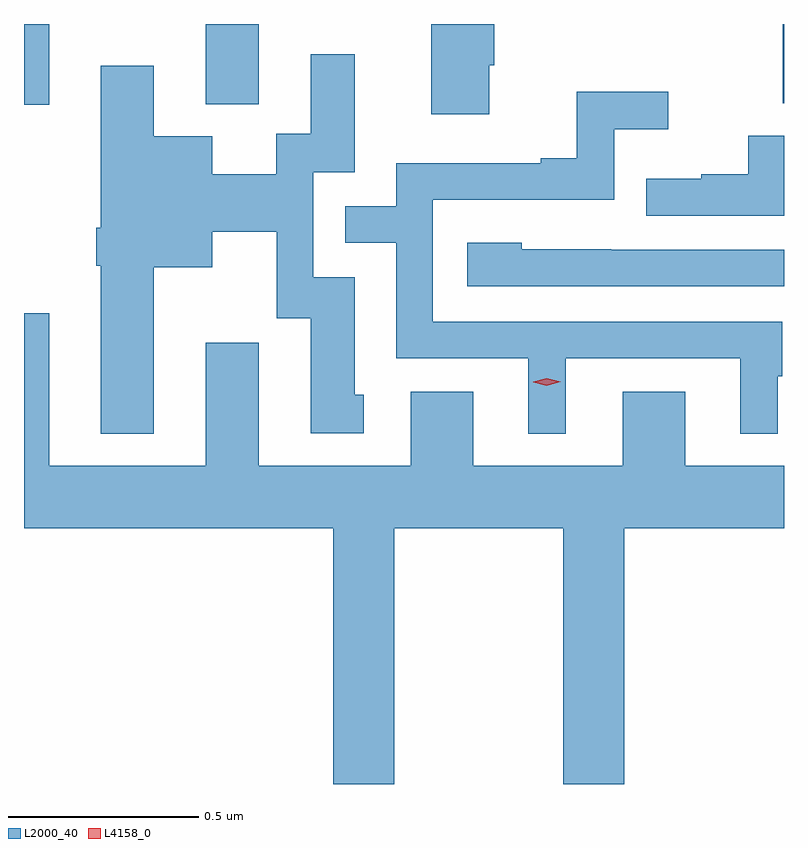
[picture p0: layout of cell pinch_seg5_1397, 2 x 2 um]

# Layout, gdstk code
import gdstk
lib = gdstk.Library(unit=1e-6, precision=1e-09)
def R(c, l, rs):  # rectangles x0, y0, x1, y1
    for r in rs: c.add(gdstk.rectangle(r[:2], r[2:], *l))
def P(c, l, *ps):  # polygons
    for p in ps: c.add(gdstk.Polygon(p, *l))
L2000_40 = (2000, 40)
L4158_0 = (4158, 0)

pinch_seg5_1397 = lib.new_cell('pinch_seg5_1397')
R(pinch_seg5_1397, L2000_40, [(269.347,912.486,269.413,912.699), (269.825,912.488,269.965,912.699), (271.344,912.49,271.347,912.699)])
P(pinch_seg5_1397, L2000_40, [(270.571,912.591),(270.584,912.591),(270.584,912.699),(270.419,912.699),(270.419,912.462),(270.571,912.462)],
  [(269.689,912.059),(269.842,912.059),(269.842,912.152),(270.012,912.152),(270.012,911.925),(270.101,911.925),(270.101,911.622),(270.241,911.622),(270.241,911.724),(270.217,911.724),(270.217,912.033),(270.108,912.033),(270.108,912.309),(270.217,912.309),(270.217,912.619),(270.101,912.619),(270.101,912.41),(270.011,912.41),(270.011,912.304),(269.842,912.304),(269.842,912.403),(269.689,912.403),(269.689,912.589),(269.549,912.589),(269.549,912.163),(269.537,912.163),(269.537,912.063),(269.549,912.063),(269.549,911.621),(269.689,911.621)],
  [(270.772,911.82),(271.232,911.82),(271.232,911.621),(271.33,911.621),(271.33,911.772),(271.342,911.772),(271.342,911.916),(270.423,911.916),(270.423,912.237),(270.9,912.237),(270.9,912.422),(271.042,912.422),(271.042,912.521),(270.802,912.521),(270.802,912.346),(270.707,912.346),(270.707,912.333),(270.327,912.333),(270.327,912.219),(270.193,912.219),(270.193,912.123),(270.327,912.123),(270.327,911.82),(270.674,911.82),(270.674,911.621),(270.772,911.621)],
  [(271.347,912.405),(271.253,912.405),(271.253,912.304),(271.129,912.304),(271.129,912.292),(270.985,912.292),(270.985,912.195),(271.347,912.195)],
  [(271.347,912.105),(270.893,912.105),(270.893,912.106),(270.657,912.106),(270.657,912.124),(270.513,912.124),(270.513,912.009),(271.347,912.009)],
  [(270.321,911.372),(270.766,911.372),(270.766,910.699),(270.926,910.699),(270.926,911.372),(271.347,911.372),(271.347,911.536),(271.087,911.536),(271.087,911.731),(270.923,911.731),(270.923,911.536),(270.529,911.536),(270.529,911.731),(270.365,911.731),(270.365,911.536),(269.965,911.536),(269.965,911.86),(269.825,911.86),(269.825,911.536),(269.413,911.536),(269.413,911.938),(269.347,911.938),(269.347,911.372),(270.161,911.372),(270.161,910.699),(270.321,910.699)])
P(pinch_seg5_1397, L4158_0, [(270.723,911.747),(270.687,911.756),(270.687,911.756),(270.687,911.757),(270.723,911.767),(270.759,911.758),(270.759,911.758),(270.759,911.758)])

lib.write_gds('pinch_seg5_1397.gds')
